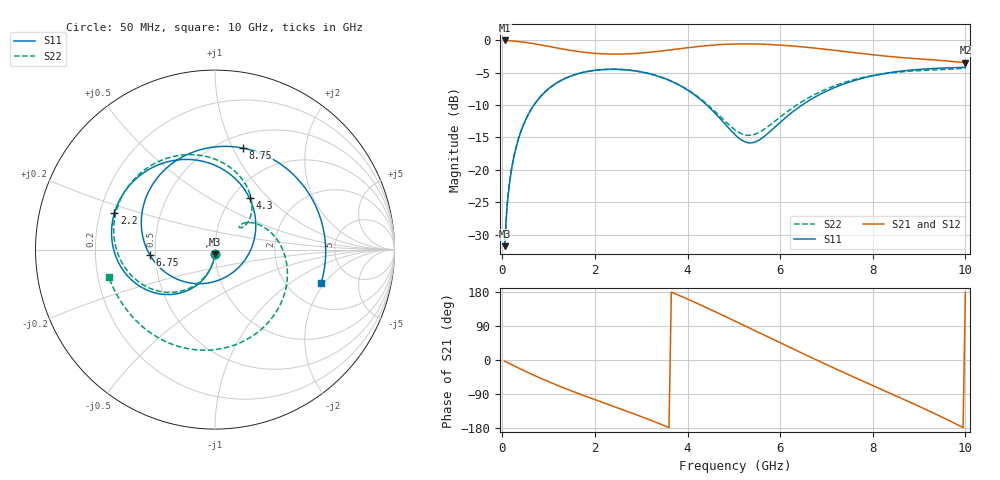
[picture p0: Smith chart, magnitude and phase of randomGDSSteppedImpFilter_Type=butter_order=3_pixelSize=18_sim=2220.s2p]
! freq	dB(S11)	phase(S11)	dB(S12)	phase(S12)
!  dB(S21)	phase(S21)	dB(S22)	phase(S22)
!S-par simulation data
#  GHz  S  DB  R 50
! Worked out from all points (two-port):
!   200 points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, 50 MHz to 10 GHz, reference 50 ohm
!   highest |S21| = -0.01 dB at 50 MHz (marker M1); lowest = -3.5 dB at 10 GHz (marker M2)
!   |S21| within 3 dB of the highest: start of sweep to 9.301 GHz
!   lowest |S11| = -31.8 dB at 50 MHz (marker M3), VSWR 1.05, Z = 49.8 - j2.56 ohm
!   |S11| at or under -10 dB: start of sweep to 682.3 MHz; 4.418 GHz to 6.47 GHz (2.053 GHz wide, 37.7 % of centre)
!   |S22| runs from -31.8 to -4.3 dB; largest |S21 - S12| = 0
!   S11 on the Smith chart (normalised r, x): 50 MHz: 1.00, -0.05; 2.2 GHz: 0.26, +0.17; 4.3 GHz: 1.20, +0.78; 6.75 GHz: 0.47, -0.03; 8.75 GHz: 0.64, +1.10; 10 GHz: 3.07, -1.84
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0.05  -31.79 -93.0  -0.01 -3.1  -0.01 -3.1  -31.79 -93.2
0.1  -25.79 -96.2  -0.02 -6.1  -0.02 -6.1  -25.80 -96.5
0.2  -19.86 -102.3  -0.07 -12.2  -0.07 -12.2  -19.86 -103.0
0.5  -12.33 -119.6  -0.31 -29.9  -0.31 -29.9  -12.33 -121.3
1.05  -7.18 -148.6  -1.00 -59.8  -1.00 -59.8  -7.19 -152.2
1.75  -4.93 179.1  -1.82 -93.4  -1.82 -93.4  -4.94 173.1
2.2  -4.49 159.9  -2.08 -113.5  -2.08 -113.5  -4.50 152.3
2.85  -4.69 132.0  -2.03 -142.4  -2.03 -142.4  -4.69 122.5
3.4  -5.61 106.6  -1.67 -168.4  -1.67 -168.4  -5.60 96.6
3.85  -7.02 83.3  -1.27 168.7  -1.27 168.7  -6.99 75.1
4.3  -9.25 55.9  -0.89 144.3  -0.89 144.3  -9.13 54.9
5.05  -14.73 -12.2  -0.55 101.2  -0.55 101.2  -13.94 38.8
5.4  -15.81 -60.6  -0.54 80.6  -0.54 80.6  -14.61 43.3
5.75  -14.27 -104.2  -0.62 60.0  -0.62 60.0  -13.23 42.6
6.25  -11.15 -145.6  -0.86 30.9  -0.86 30.9  -10.51 25.0
6.7  -8.97 -172.8  -1.15 5.0  -1.15 5.0  -8.53 0.8
6.75  -8.76 -175.6  -1.19 2.1  -1.19 2.1  -8.35 -2.0
7.6  -6.20 139.5  -1.89 -45.6  -1.89 -45.6  -6.05 -51.7
8.35  -5.00 98.4  -2.48 -86.5  -2.48 -86.5  -5.05 -91.9
8.75  -4.63 74.4  -2.72 -108.4  -2.72 -108.4  -4.78 -111.4
9.5  -4.27 23.0  -3.11 -151.0  -3.11 -151.0  -4.51 -144.5
10  -4.15 -17.4  -3.46 178.5  -3.46 178.5  -4.28 -165.3
